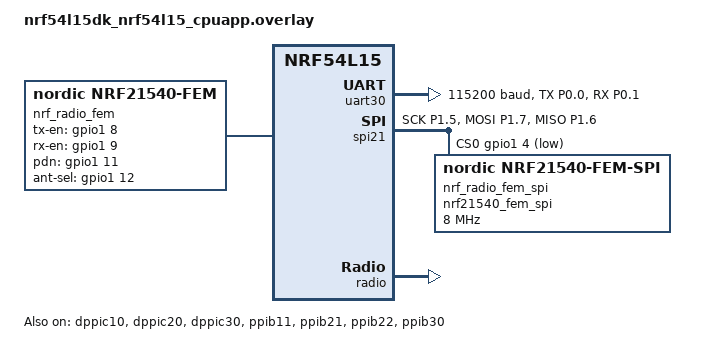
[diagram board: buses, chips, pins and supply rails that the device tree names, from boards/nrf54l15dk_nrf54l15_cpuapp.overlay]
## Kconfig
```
# Application Kconfig

# Add an application power model to the MPSL FEM power-model choice.
# It uses the nRF21540 PA gain only when the nRF21540EK is detected at boot;
# otherwise the nRF54L15 radio alone provides the full requested power.
choice MPSL_FEM_POWER_MODEL_CHOICE

config APP_FEM_POWER_MODEL_AUTO_DETECT
	bool "Application model: nRF21540 gain only when the EK is detected"
	depends on MPSL_FEM_NRF21540_GPIO_SPI

endchoice

source "Kconfig.zephyr"
```

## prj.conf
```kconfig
CONFIG_GPIO=y
CONFIG_SPI=y
CONFIG_BT=y
CONFIG_BT_PERIPHERAL=y
CONFIG_BT_MAX_CONN=1
CONFIG_BT_DEVICE_NAME="nRF21540 Verified"
CONFIG_BT_CTLR_ADVANCED_FEATURES=y
CONFIG_BT_CTLR_TX_PWR_DYNAMIC_CONTROL=y
CONFIG_MPSL_FEM_NRF21540_GPIO_SPI=y
CONFIG_MPSL_FEM_NRF21540_RUNTIME_PA_GAIN_CONTROL=y
CONFIG_MPSL_FEM_INIT_PRIORITY=60
CONFIG_MPSL_FEM_NRF21540_TX_GAIN_DB=20
CONFIG_MPSL_FEM_NRF21540_TX_GAIN_DB_POUTA=20
CONFIG_MPSL_FEM_NRF21540_TX_GAIN_DB_POUTB=10

CONFIG_SERIAL=y
CONFIG_CONSOLE=y
CONFIG_UART_CONSOLE=y
CONFIG_PRINTK=y

# Power model that follows nRF21540EK auto-detection (see Kconfig, src/main.c)
CONFIG_MPSL_FEM_POWER_MODEL=y
CONFIG_APP_FEM_POWER_MODEL_AUTO_DETECT=y
```

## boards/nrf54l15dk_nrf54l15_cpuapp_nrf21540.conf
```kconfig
CONFIG_APP_TX_POWER_MODE_NRF21540=y
CONFIG_MPSL_FEM_NRF21540_GPIO_SPI=y
CONFIG_MPSL_FEM_NRF21540_RUNTIME_PA_GAIN_CONTROL=y
CONFIG_SPI=y
```

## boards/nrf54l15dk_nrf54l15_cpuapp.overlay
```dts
#include <zephyr/dt-bindings/gpio/gpio.h>
#include <zephyr/dt-bindings/pinctrl/nrf-pinctrl.h>

/ {
    chosen {
        zephyr,console = &uart30;
        zephyr,shell-uart = &uart30;
    };

    /* nRF21540 FEM configuration */
    nrf_radio_fem: nrf21540_fem {
        compatible = "nordic,nrf21540-fem";

        /* FEM GPIO control */
        tx-en-gpios   = <&gpio1 8 GPIO_ACTIVE_HIGH>;
        rx-en-gpios   = <&gpio1 9 GPIO_ACTIVE_HIGH>;
        pdn-gpios     = <&gpio1 11 GPIO_ACTIVE_HIGH>;
        ant-sel-gpios = <&gpio1 12 GPIO_ACTIVE_HIGH>;

        /* FEM SPI interface */
        spi-if = <&nrf_radio_fem_spi>;

        supply-voltage-mv = <3000>;

        tx-en-settle-time-us = <27>;
        rx-en-settle-time-us = <12>;
    };
};

/* Pin control configuration */
&pinctrl {

    /* UART30 */
    serial30_default: serial30_default {
        group1 {
            psels = <NRF_PSEL(UART_TX, 0, 0)>;
        };

        group2 {
            psels = <NRF_PSEL(UART_RX, 0, 1)>;
            bias-pull-up;
        };
    };

    serial30_sleep: serial30_sleep {
        group1 {
            psels = <NRF_PSEL(UART_TX, 0, 0)>,
                    <NRF_PSEL(UART_RX, 0, 1)>;
            low-power-enable;
        };
    };

    /* nRF21540 SPI21 */
    nrf21540_spi21_default: nrf21540_spi21_default {
        group1 {
            psels = <NRF_PSEL(SPIM_SCK, 1, 5)>,
                    <NRF_PSEL(SPIM_MOSI, 1, 7)>;
        };
        /* Pull-down on MISO: with no nRF21540EK the line reads 0x00
         * instead of floating, so detection is predictable.
         */
        group2 {
            psels = <NRF_PSEL(SPIM_MISO, 1, 6)>;
            bias-pull-down;
        };
    };

    nrf21540_spi21_sleep: nrf21540_spi21_sleep {
        group1 {
            psels = <NRF_PSEL(SPIM_SCK, 1, 5)>,
                    <NRF_PSEL(SPIM_MISO, 1, 6)>,
                    <NRF_PSEL(SPIM_MOSI, 1, 7)>;
            low-power-enable;
        };
    };
};

/* Disable unused UART20 */
&uart20 {
    status = "disabled";
};

/* UART30 configuration */
&uart30 {
    status = "okay";
    current-speed = <115200>;

    pinctrl-0 = <&serial30_default>;
    pinctrl-1 = <&serial30_sleep>;
    pinctrl-names = "default", "sleep";
};

/* SPI21 configuration */
&spi21 {
    status = "okay";

    pinctrl-0 = <&nrf21540_spi21_default>;
    pinctrl-1 = <&nrf21540_spi21_sleep>;
    pinctrl-names = "default", "sleep";

    /* SPI Chip Select: P1.4 */
    cs-gpios = <&gpio1 4 GPIO_ACTIVE_LOW>;

    nrf_radio_fem_spi: nrf21540_fem_spi@0 {
        compatible = "nordic,nrf21540-fem-spi";
        status = "okay";
        reg = <0>;
        spi-max-frequency = <8000000>;
    };
};

/* Connect FEM to radio */
&radio {
    fem = <&nrf_radio_fem>;
};

/* Enable DPPI peripherals */
&dppic10 {
    status = "okay";
};

&dppic20 {
    status = "okay";
};

&dppic30 {
    status = "okay";
};

/* Enable PPIB peripherals */
&ppib11 {
    status = "okay";
};

&ppib21 {
    status = "okay";
};

&ppib22 {
    status = "okay";
};

&ppib30 {
    status = "okay";
};
```

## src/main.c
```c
/*
 * SPDX-License-Identifier: Apache-2.0
 *
 * nRF54L15 DK with OPTIONAL nRF21540EK - one firmware for both cases.
 *
 * At boot (before Bluetooth starts) the firmware reads the nRF21540
 * PARTNUMBER register over SPI:
 *
 *   PARTNUMBER == 0x0C  -> "nRF21540EK detected: YES"
 *                          The FEM is used, TX power = +20 dBm on air
 *                          (nRF54L15 ~0 dBm + nRF21540 PA +20 dB).
 *
 *   anything else       -> "nRF21540EK detected: NO"
 *                          FEM pins are parked (PDN low = FEM off) and the
 *                          nRF54L15 radio is driven at its own maximum
 *                          (+8 dBm) through the DK's PCB antenna.
 *
 * Bluetooth starts in both cases. No rebuild is needed when you plug or
 * unplug the EK - just reset the board.
 */

#include <errno.h>
#include <stdbool.h>
#include <stdint.h>

#include <zephyr/bluetooth/bluetooth.h>
#include <zephyr/bluetooth/conn.h>
#include <zephyr/bluetooth/gap.h>
#include <zephyr/bluetooth/hci.h>
#include <zephyr/bluetooth/hci_vs.h>
#include <zephyr/devicetree.h>
#include <zephyr/drivers/gpio.h>
#include <zephyr/drivers/spi.h>
#include <zephyr/init.h>
#include <zephyr/kernel.h>
#include <zephyr/net_buf.h>
#include <zephyr/sys/byteorder.h>
#include <zephyr/sys/printk.h>
#include <zephyr/sys/util.h>

#include <mpsl_fem_power_model.h>
#include <mpsl_fem_protocol_api.h>
#include <mpsl_tx_power.h>

/* Wanted on-air TX power when the nRF21540EK is present. */
#define TX_POWER_WITH_FEM_DBM 25

/* Wanted on-air TX power without the EK (nRF54L15 radio maximum). */
#define TX_POWER_SOC_ONLY_DBM 10

/* Channel used only to ask MPSL how it splits TX power (2440 MHz = mid band). */
#define POWER_SPLIT_FREQ_MHZ 2440

#define FEM_SPI_NODE DT_NODELABEL(nrf_radio_fem_spi)
#define NRF21540_PARTNUMBER_INDEX 2 /* index in readable_registers[] */
#define NRF21540_PARTNUMBER_VALUE 0x0C
#define NRF21540_READ_COMMAND 0x80
#define NRF21540_MAX_REGISTER_ADDRESS 0x3F

/*
 * Antenna selection on the EK:
 *   0 = ANT1, 1 = ANT2. Put your antenna on the matching SMA connector.
 */
#define NRF21540_SELECTED_ANTENNA 0

#if (NRF21540_SELECTED_ANTENNA != 0) && (NRF21540_SELECTED_ANTENNA != 1)
#error "NRF21540_SELECTED_ANTENNA must be 0 (ANT1) or 1 (ANT2)"
#endif

/* Must run after SPI init and before MPSL takes over the FEM pins. */
#define NRF21540_DETECT_INIT_PRIORITY 51

#if !DT_NODE_HAS_STATUS(FEM_SPI_NODE, okay)
#error "The target board must provide an enabled nRF21540 FEM SPI node"
#endif

BUILD_ASSERT(IS_ENABLED(CONFIG_BT_HAS_HCI_VS),
	     "This application requires Bluetooth HCI vendor extensions");
BUILD_ASSERT(CONFIG_MPSL_FEM_INIT_PRIORITY > NRF21540_DETECT_INIT_PRIORITY,
	     "FEM detection must run before MPSL claims the FEM SPI bus");
BUILD_ASSERT(CONFIG_SPI_INIT_PRIORITY < NRF21540_DETECT_INIT_PRIORITY,
	     "The FEM SPI device must initialize before FEM detection");

static const struct gpio_dt_spec fem_tx_en =
	GPIO_DT_SPEC_GET(DT_NODELABEL(nrf_radio_fem), tx_en_gpios);
static const struct gpio_dt_spec fem_rx_en =
	GPIO_DT_SPEC_GET(DT_NODELABEL(nrf_radio_fem), rx_en_gpios);
static const struct gpio_dt_spec fem_pdn =
	GPIO_DT_SPEC_GET(DT_NODELABEL(nrf_radio_fem), pdn_gpios);
static const struct gpio_dt_spec fem_ant_sel =
	GPIO_DT_SPEC_GET(DT_NODELABEL(nrf_radio_fem), ant_sel_gpios);
static const struct spi_dt_spec fem_spi =
	SPI_DT_SPEC_GET(FEM_SPI_NODE,
			SPI_OP_MODE_MASTER | SPI_WORD_SET(8) |
				SPI_TRANSFER_MSB,
			0);

struct register_info {
	uint8_t address;
	const char *name;
};

static const struct register_info readable_registers[] = {
	{ 0x00, "CONFREG0" },
	{ 0x01, "CONFREG1" },
	{ 0x14, "PARTNUMBER" },
	{ 0x15, "HW_REVISION" },
	{ 0x16, "HW_ID0" },
	{ 0x17, "HW_ID1" },
};

struct register_result {
	uint8_t rx_frame[2];
	int error;
	bool attempted;
};

static struct register_result startup_register_results[
	ARRAY_SIZE(readable_registers)];

/* Result of detection, filled in before main() runs. */
static int fem_detect_error = -EINPROGRESS; /* 0 = SPI reads OK */
static bool fem_present;

/* TX power value sent to the controller (decided in main()). */
static int8_t tx_power_request_dbm;

static const struct bt_data advertising_data[] = {
	BT_DATA_BYTES(BT_DATA_FLAGS, (BT_LE_AD_GENERAL | BT_LE_AD_NO_BREDR)),
	BT_DATA(BT_DATA_NAME_COMPLETE, CONFIG_BT_DEVICE_NAME,
		sizeof(CONFIG_BT_DEVICE_NAME) - 1),
};

static const struct bt_le_adv_param *const advertising_parameters =
	BT_LE_ADV_PARAM(BT_LE_ADV_OPT_CONN,
			BT_GAP_MS_TO_ADV_INTERVAL(100),
			BT_GAP_MS_TO_ADV_INTERVAL(100), NULL);

/* ------------------------------------------------------------------ */
/* nRF21540 detection                                                  */
/* ------------------------------------------------------------------ */

static int nrf21540_read_register(uint8_t address, uint8_t rx_frame[2])
{
	uint8_t tx_frame[2] = {
		(uint8_t)(NRF21540_READ_COMMAND |
			  (address & NRF21540_MAX_REGISTER_ADDRESS)),
		0x00,
	};
	const struct spi_buf tx_buf = { .buf = tx_frame, .len = sizeof(tx_frame) };
	const struct spi_buf rx_buf = { .buf = rx_frame, .len = 2 };
	const struct spi_buf_set tx_set = { .buffers = &tx_buf, .count = 1 };
	const struct spi_buf_set rx_set = { .buffers = &rx_buf, .count = 1 };

	rx_frame[0] = 0;
	rx_frame[1] = 0;
	return spi_transceive_dt(&fem_spi, &tx_set, &rx_set);
}

static int fem_pins_configure(void)
{
	int err;

	if (!gpio_is_ready_dt(&fem_tx_en) || !gpio_is_ready_dt(&fem_rx_en) ||
	    !gpio_is_ready_dt(&fem_pdn) || !gpio_is_ready_dt(&fem_ant_sel) ||
	    !spi_is_ready_dt(&fem_spi)) {
		return -ENODEV;
	}

	err = gpio_pin_configure_dt(&fem_tx_en, GPIO_OUTPUT_INACTIVE);
	if (err == 0) {
		err = gpio_pin_configure_dt(&fem_rx_en, GPIO_OUTPUT_INACTIVE);
	}
	if (err == 0) {
		err = gpio_pin_configure_dt(&fem_ant_sel,
					    NRF21540_SELECTED_ANTENNA ?
						    GPIO_OUTPUT_ACTIVE :
						    GPIO_OUTPUT_INACTIVE);
	}
	if (err == 0) {
		err = gpio_pin_configure_dt(&fem_pdn, GPIO_OUTPUT_INACTIVE);
	}
	return err;
}

/* PDN low = nRF21540 powered down. Used when no EK is found. */
static void fem_pins_park(void)
{
	(void)gpio_pin_set_dt(&fem_tx_en, 0);
	(void)gpio_pin_set_dt(&fem_rx_en, 0);
	(void)gpio_pin_set_dt(&fem_pdn, 0);
}

static int detect_nrf21540_early(void)
{
	int err;

	fem_present = false;

	err = fem_pins_configure();
	if (err != 0) {
		fem_detect_error = err;
		return 0;
	}

	/* Wake the nRF21540 (PDN high) so it can answer on SPI. */
	k_busy_wait(1000);
	(void)gpio_pin_set_dt(&fem_pdn, 1);
	k_busy_wait(1000);

	for (size_t i = 0; i < ARRAY_SIZE(readable_registers); i++) {
		startup_register_results[i].attempted = true;
		err = nrf21540_read_register(readable_registers[i].address,
					     startup_register_results[i].rx_frame);
		startup_register_results[i].error = err;
		if (err != 0) {
			fem_detect_error = err;
			fem_pins_park();
			return 0;
		}
	}

	fem_detect_error = 0;
	fem_present = (startup_register_results[NRF21540_PARTNUMBER_INDEX]
			       .rx_frame[1] == NRF21540_PARTNUMBER_VALUE);

	if (!fem_present) {
		fem_pins_park();
	}
	return 0;
}

SYS_INIT(detect_nrf21540_early, POST_KERNEL, NRF21540_DETECT_INIT_PRIORITY);

static void print_startup_register_results(void)
{
	printk("FEM pin map: TX_EN=%s.%u RX_EN=%s.%u PDN=%s.%u ANT_SEL=%s.%u\n",
	       fem_tx_en.port->name, fem_tx_en.pin,
	       fem_rx_en.port->name, fem_rx_en.pin,
	       fem_pdn.port->name, fem_pdn.pin,
	       fem_ant_sel.port->name, fem_ant_sel.pin);
	printk("Reading nRF21540 registers:\n");

	for (size_t i = 0; i < ARRAY_SIZE(readable_registers); i++) {
		const struct register_result *r = &startup_register_results[i];
		uint8_t address = readable_registers[i].address;

		if (!r->attempted) {
			continue;
		}
		if (r->error != 0) {
			printk("  %-11s [0x%02X]: SPI read failed (err %d)\n",
			       readable_registers[i].name, address, r->error);
			continue;
		}
		printk("  %-11s [0x%02X]: MISO=[0x%02X 0x%02X] value=0x%02X\n",
		       readable_registers[i].name, address, r->rx_frame[0],
		       r->rx_frame[1], r->rx_frame[1]);
	}
}

/* ------------------------------------------------------------------ */
/* FEM power model (replaces the MPSL built-in nRF21540 model)         */
/* ------------------------------------------------------------------ */

/*
 * MPSL asks this model how to split a requested on-air power into
 * "nRF54L15 radio power" + "nRF21540 PA setting".
 *
 *   EK present : radio = requested - PA gain (POUTA, ~20 dB)
 *   EK absent  : radio = requested            (PA gain = 0 dB)
 *
 * Without this, MPSL always assumes the 20 dB PA gain, and since the
 * Bluetooth controller caps requests at +20 dBm the radio would never go
 * above 0 dBm when the EK is missing.
 */
#if defined(CONFIG_APP_FEM_POWER_MODEL_AUTO_DETECT)

/* Defaults until MPSL hands us the chip's calibration data. */
static mpsl_fem_calibration_point_t pa_pouta = {
	.gain_db = CONFIG_MPSL_FEM_NRF21540_TX_GAIN_DB_POUTA,
	.fem_pa_power_control = 0,
};

static void app_power_model_init(const mpsl_fem_calibration_data_t *cal)
{
	/* Only trust calibration data that came from a real nRF21540. */
	if (fem_present && cal != NULL &&
	    cal->nrf21540_gpio_spi.pouta.gain_db > 0) {
		pa_pouta = cal->nrf21540_gpio_spi.pouta;
	}
}

/* Runs in radio interrupt context: must stay short (< 2 us). */
static void app_power_model_fetch(int8_t requested_power, mpsl_phy_t phy,
				  uint16_t freq_mhz,
				  mpsl_fem_power_model_output_t *out,
				  bool tx_power_ceiling)
{
	ARG_UNUSED(phy);
	ARG_UNUSED(freq_mhz);

	int8_t pa_gain = fem_present ? pa_pouta.gain_db : 0;

	out->soc_pwr = mpsl_tx_power_radio_supported_power_adjust(
		(mpsl_tx_power_t)(requested_power - pa_gain), tx_power_ceiling);
	out->fem_pa_power_control = pa_pouta.fem_pa_power_control;
	out->achieved_pwr = out->soc_pwr + pa_gain;
}

static const mpsl_fem_power_model_t app_power_model = {
	.fetch = app_power_model_fetch,
	.init = app_power_model_init,
};

/* Called by the NCS FEM driver (priority 60, after detection at 51). */
const mpsl_fem_power_model_t *mpsl_fem_power_model_to_use_get(void);
const mpsl_fem_power_model_t *mpsl_fem_power_model_to_use_get(void)
{
	return &app_power_model;
}

#endif /* CONFIG_APP_FEM_POWER_MODEL_AUTO_DETECT */

/* ------------------------------------------------------------------ */
/* TX power selection                                                  */
/* ------------------------------------------------------------------ */

/* What the nRF54L15 radio itself outputs for a given on-air request. */
static int8_t soc_radio_power_for_request(int8_t request_dbm)
{
	mpsl_tx_power_split_t split;

	(void)mpsl_fem_tx_power_split(request_dbm, &split, MPSL_PHY_BLE_1M,
				      POWER_SPLIT_FREQ_MHZ, false);
	return split.radio_tx_power;
}

static void choose_tx_power(void)
{
	tx_power_request_dbm = fem_present ? TX_POWER_WITH_FEM_DBM :
					     TX_POWER_SOC_ONLY_DBM;
}

static void print_on_air_power(int8_t controller_selected_dbm)
{
	int8_t soc_dbm = soc_radio_power_for_request(controller_selected_dbm);

	if (fem_present) {
		printk("On-air TX power: nRF54L15 %d dBm + nRF21540 PA "
		       "%d dB = %d dBm (out of EK ANT%d)\n",
		       soc_dbm, controller_selected_dbm - soc_dbm,
		       controller_selected_dbm, NRF21540_SELECTED_ANTENNA + 1);
	} else {
		printk("On-air TX power: %d dBm (nRF54L15 only, DK PCB antenna)\n",
		       soc_dbm);
	}
}

/* ------------------------------------------------------------------ */
/* HCI vendor-specific TX power commands                               */
/* ------------------------------------------------------------------ */

static int set_tx_power(uint8_t handle_type, uint16_t handle,
			int8_t requested_power)
{
	struct bt_hci_cp_vs_write_tx_power_level *cp;
	struct bt_hci_rp_vs_write_tx_power_level *rp;
	struct net_buf *buf;
	struct net_buf *rsp = NULL;
	int err;

	buf = bt_hci_cmd_alloc(K_FOREVER);
	if (buf == NULL) {
		printk("Could not allocate HCI TX power command buffer\n");
		return -ENOMEM;
	}

	cp = net_buf_add(buf, sizeof(*cp));
	cp->handle = sys_cpu_to_le16(handle);
	cp->handle_type = handle_type;
	cp->tx_power_level = requested_power;

	err = bt_hci_cmd_send_sync(BT_HCI_OP_VS_WRITE_TX_POWER_LEVEL, buf, &rsp);
	if (err != 0) {
		printk("HCI TX power write failed (err %d)\n", err);
		return err;
	}

	if (rsp == NULL || rsp->len < sizeof(*rp)) {
		if (rsp != NULL) {
			net_buf_unref(rsp);
		}
		printk("HCI TX power write returned a short response\n");
		return -EBADMSG;
	}

	rp = (void *)rsp->data;
	if (rp->status != 0U) {
		printk("HCI TX power write returned status 0x%02X\n", rp->status);
		net_buf_unref(rsp);
		return -EIO;
	}

	printk("TX power: requested=%d dBm, controller selected=%d dBm\n",
	       requested_power, rp->selected_tx_power);
	print_on_air_power(rp->selected_tx_power);
	net_buf_unref(rsp);
	return 0;
}

static int read_tx_power(uint8_t handle_type, uint16_t handle)
{
	struct bt_hci_cp_vs_read_tx_power_level *cp;
	struct bt_hci_rp_vs_read_tx_power_level *rp;
	struct net_buf *buf;
	struct net_buf *rsp = NULL;
	int err;

	buf = bt_hci_cmd_alloc(K_FOREVER);
	if (buf == NULL) {
		printk("Could not allocate HCI TX power read buffer\n");
		return -ENOMEM;
	}

	cp = net_buf_add(buf, sizeof(*cp));
	cp->handle_type = handle_type;
	cp->handle = sys_cpu_to_le16(handle);

	err = bt_hci_cmd_send_sync(BT_HCI_OP_VS_READ_TX_POWER_LEVEL, buf, &rsp);
	if (err != 0) {
		printk("HCI TX power read failed (err %d)\n", err);
		return err;
	}

	if (rsp == NULL || rsp->len < sizeof(*rp)) {
		if (rsp != NULL) {
			net_buf_unref(rsp);
		}
		printk("HCI TX power read returned a short response\n");
		return -EBADMSG;
	}

	rp = (void *)rsp->data;
	if (rp->status != 0U) {
		printk("HCI TX power read returned status 0x%02X\n", rp->status);
		net_buf_unref(rsp);
		return -EIO;
	}

	printk("TX power readback: handle type %u handle %u = %d dBm\n",
	       handle_type, handle, rp->tx_power_level);
	net_buf_unref(rsp);
	return 0;
}

static int apply_tx_power(uint8_t handle_type, uint16_t handle)
{
	int err = set_tx_power(handle_type, handle, tx_power_request_dbm);

	if (err == 0) {
		err = read_tx_power(handle_type, handle);
	}
	return err;
}

/* ------------------------------------------------------------------ */
/* Connection callbacks                                                */
/* ------------------------------------------------------------------ */

static void connected(struct bt_conn *conn, uint8_t err)
{
	uint16_t handle;
	int ret;

	if (err != 0U) {
		printk("Bluetooth connection failed (err 0x%02X)\n", err);
		return;
	}

	ret = bt_hci_get_conn_handle(conn, &handle);
	if (ret != 0) {
		printk("Could not get connection handle (err %d)\n", ret);
		return;
	}

	printk("Bluetooth connected; setting connection TX power.\n");
	ret = apply_tx_power(BT_HCI_VS_LL_HANDLE_TYPE_CONN, handle);
	if (ret != 0) {
		printk("Connection TX power setup failed (err %d)\n", ret);
	}
}

static void disconnected(struct bt_conn *conn, uint8_t reason)
{
	ARG_UNUSED(conn);
	printk("Bluetooth disconnected (reason 0x%02X)\n", reason);
	/* Advertising is restarted in recycled(), when the conn object is free. */
}

static void recycled(void)
{
	int err;

	printk("Connection object freed; restarting advertising.\n");

	err = apply_tx_power(BT_HCI_VS_LL_HANDLE_TYPE_ADV, 0);
	if (err != 0) {
		printk("Advertising TX power setup failed (err %d)\n", err);
		return;
	}

	err = bt_le_adv_start(advertising_parameters, advertising_data,
			      ARRAY_SIZE(advertising_data), NULL, 0);
	if (err == -EALREADY) {
		printk("Advertising already running.\n");
		return;
	}
	if (err != 0) {
		printk("Could not restart advertising (err %d)\n", err);
		return;
	}

	printk("Connectable advertising restarted.\n");
}

BT_CONN_CB_DEFINE(connection_callbacks) = {
	.connected    = connected,
	.disconnected = disconnected,
	.recycled     = recycled,
};

/* ------------------------------------------------------------------ */
/* main                                                                */
/* ------------------------------------------------------------------ */

int main(void)
{
	int err;

	printk("\n=== nRF54L15 DK + optional nRF21540EK ===\n");
	print_startup_register_results();

	if (fem_detect_error != 0) {
		printk("FEM SPI/GPIO error (err %d) - treating as no EK.\n",
		       fem_detect_error);
	}

	if (fem_present) {
		printk("nRF21540EK detected: YES (PARTNUMBER=0x%02X)\n",
		       startup_register_results[NRF21540_PARTNUMBER_INDEX]
			       .rx_frame[1]);
		printk("Mode: nRF54L15 + nRF21540 PA, antenna ANT%d on the EK.\n",
		       NRF21540_SELECTED_ANTENNA + 1);
		printk("  -> RF coax DK->EK must be connected.\n");
	} else {
		printk("nRF21540EK detected: NO (PARTNUMBER=0x%02X, expected 0x%02X)\n",
		       startup_register_results[NRF21540_PARTNUMBER_INDEX]
			       .rx_frame[1],
		       NRF21540_PARTNUMBER_VALUE);
		printk("Mode: nRF54L15 DK only, DK PCB antenna. FEM pins parked.\n");
		printk("  -> RF coax must be REMOVED from the DK.\n");
	}

	choose_tx_power();

	err = bt_enable(NULL);
	if (err != 0) {
		printk("Bluetooth initialization failed (err %d)\n", err);
		return err;
	}
	printk("Bluetooth initialized.\n");

	err = apply_tx_power(BT_HCI_VS_LL_HANDLE_TYPE_ADV, 0);
	if (err != 0) {
		printk("Advertising TX power setup failed (err %d)\n", err);
		return err;
	}

	err = bt_le_adv_start(advertising_parameters, advertising_data,
			      ARRAY_SIZE(advertising_data), NULL, 0);
	if (err != 0) {
		printk("Could not start advertising (err %d)\n", err);
		return err;
	}

	printk("Connectable advertising started.\n");
	while (1) {
		k_sleep(K_FOREVER);
	}
}
```
